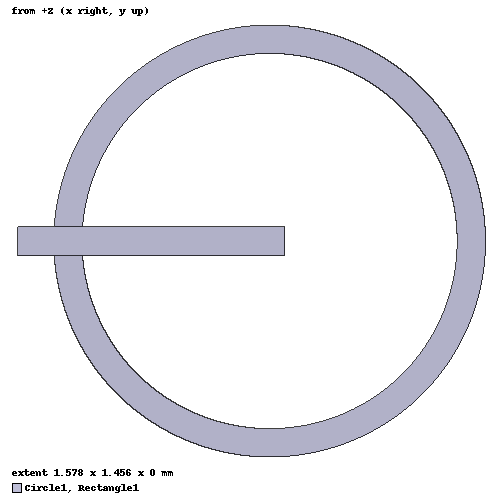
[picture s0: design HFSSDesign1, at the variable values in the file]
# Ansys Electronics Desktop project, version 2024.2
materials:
  vacuum: permittivity=1

design HFSSDesign1 (HFSS, HFSS Terminal Network, model units mm)
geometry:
  Circle1 = circle(normal=Z, centre=(0mm, 0mm, 0mm), radius=0.72801099mm)
  Circle2 = circle(normal=Z, centre=(0mm, 0mm, 0mm), radius=0.63245553mm)
  Circle1.subtract(Circle2)
  Rectangle1 = rectangle(corner=(0.05mm, (0.1/2) mm, 0mm), x_size=-0.9mm, y_size=-0.1mm)
